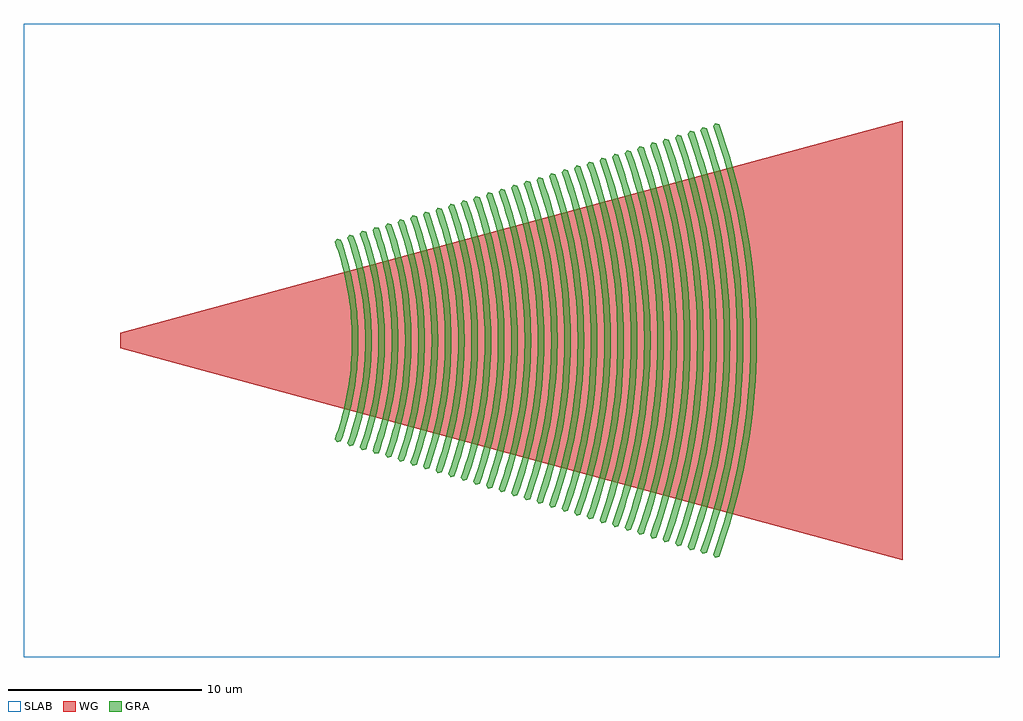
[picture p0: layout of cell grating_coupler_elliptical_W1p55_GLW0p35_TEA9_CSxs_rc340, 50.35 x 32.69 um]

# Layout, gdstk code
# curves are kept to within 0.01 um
import gdstk
lib = gdstk.Library(unit=1e-6, precision=1e-09)
def R(c, l, rs):  # rectangles x0, y0, x1, y1
    for r in rs: c.add(gdstk.rectangle(r[:2], r[2:], *l))
def P(c, l, *ps):  # polygons
    for p in ps: c.add(gdstk.Polygon(p, *l))
WG = (3, 0)
SLAB = (5, 0)
GRA = (6, 0)

grating_coupler_elliptic = lib.new_cell('grating_coupler_elliptical_W1p55_GLW0p35_TEA9_CSxs_rc340')
P(grating_coupler_elliptic, WG, [(46.05,-11.346),(5.7,-0.4),(5.7,0.4),(46.05,11.346)])
R(grating_coupler_elliptic, SLAB, [(0.7,-16.346,51.05,16.346)])
P(grating_coupler_elliptic, GRA, [(16.878,-5.26),(16.757,-5.1),(17.008,-4.338),(17.151,-3.825),(17.333,-3.045),(17.473,-2.258),(17.595,-1.199),(17.642,-0.134),(17.638,0.4),(17.614,0.933),(17.511,1.994),(17.384,2.783),(17.216,3.566),(17.008,4.338),(16.757,5.1),(16.878,5.26),(17.073,5.21),(17.248,4.695),(17.404,4.172),(17.661,3.113),(17.805,2.308),(17.905,1.496),(17.948,0.953),(17.976,0.136),(17.962,-0.681),(17.905,-1.496),(17.805,-2.308),(17.661,-3.113),(17.404,-4.172),(17.248,-4.695),(17.073,-5.21)],
  [(17.529,-5.459),(17.408,-5.299),(17.668,-4.507),(17.817,-3.974),(18.006,-3.163),(18.151,-2.346),(18.225,-1.797),(18.278,-1.245),(18.313,-0.693),(18.326,-0.139),(18.322,0.416),(18.298,0.969),(18.225,1.797),(18.151,2.346),(18.006,3.163),(17.817,3.974),(17.668,4.507),(17.408,5.299),(17.529,5.459),(17.724,5.409),(17.905,4.874),(18.067,4.331),(18.334,3.231),(18.483,2.396),(18.587,1.553),(18.647,0.707),(18.662,0.141),(18.647,-0.707),(18.587,-1.553),(18.483,-2.396),(18.334,-3.231),(18.067,-4.331),(17.905,-4.874),(17.724,-5.409)],
  [(18.179,-5.657),(18.058,-5.497),(18.328,-4.676),(18.483,-4.122),(18.679,-3.282),(18.829,-2.433),(18.906,-1.864),(18.961,-1.292),(18.997,-0.718),(19.012,-0.144),(19.007,0.431),(18.982,1.005),(18.936,1.578),(18.87,2.149),(18.734,3),(18.553,3.843),(18.328,4.676),(18.058,5.497),(18.179,5.657),(18.374,5.607),(18.562,5.052),(18.73,4.49),(18.879,3.923),(19.007,3.35),(19.161,2.483),(19.27,1.61),(19.316,1.025),(19.347,0.146),(19.331,-0.732),(19.27,-1.61),(19.161,-2.483),(19.007,-3.35),(18.879,-3.923),(18.73,-4.49),(18.562,-5.052),(18.374,-5.607)],
  [(18.83,-5.855),(18.709,-5.695),(18.9,-5.129),(19.149,-4.271),(19.352,-3.4),(19.508,-2.521),(19.587,-1.931),(19.644,-1.339),(19.681,-0.744),(19.696,-0.149),(19.692,0.447),(19.666,1.042),(19.587,1.931),(19.508,2.521),(19.352,3.4),(19.149,4.271),(18.9,5.129),(18.709,5.695),(18.83,5.855),(19.025,5.805),(19.22,5.231),(19.393,4.648),(19.547,4.061),(19.68,3.468),(19.84,2.571),(19.952,1.667),(20,1.062),(20.032,0.151),(20.015,-0.758),(19.952,-1.667),(19.84,-2.571),(19.68,-3.468),(19.547,-4.061),(19.393,-4.648),(19.22,-5.231),(19.025,-5.805)],
  [(19.481,-6.053),(19.36,-5.893),(19.648,-5.013),(19.89,-4.121),(20.025,-3.519),(20.186,-2.609),(20.268,-1.998),(20.328,-1.385),(20.366,-0.769),(20.382,-0.155),(20.377,0.462),(20.328,1.385),(20.268,1.998),(20.186,2.609),(20.025,3.519),(19.89,4.121),(19.648,5.013),(19.36,5.893),(19.481,6.053),(19.676,6.003),(19.877,5.41),(20.056,4.807),(20.216,4.199),(20.353,3.587),(20.518,2.659),(20.634,1.724),(20.7,0.785),(20.716,0.157),(20.7,-0.785),(20.634,-1.724),(20.518,-2.659),(20.353,-3.587),(20.216,-4.199),(20.056,-4.807),(19.877,-5.41),(19.676,-6.003)],
  [(20.131,-6.252),(20.01,-6.092),(20.309,-5.182),(20.481,-4.568),(20.698,-3.637),(20.865,-2.697),(20.949,-2.066),(21.011,-1.432),(21.05,-0.795),(21.066,-0.16),(21.062,0.478),(21.011,1.432),(20.949,2.066),(20.865,2.697),(20.698,3.637),(20.481,4.568),(20.309,5.182),(20.01,6.092),(20.131,6.252),(20.326,6.202),(20.534,5.588),(20.72,4.966),(20.884,4.338),(21.026,3.705),(21.197,2.747),(21.316,1.781),(21.367,1.134),(21.402,0.162),(21.384,-0.811),(21.316,-1.781),(21.197,-2.747),(21.026,-3.705),(20.884,-4.338),(20.72,-4.966),(20.534,-5.588),(20.326,-6.202)],
  [(20.782,-6.45),(20.661,-6.29),(20.969,-5.351),(21.227,-4.397),(21.371,-3.756),(21.543,-2.785),(21.631,-2.133),(21.694,-1.478),(21.735,-0.822),(21.752,-0.164),(21.735,0.822),(21.694,1.478),(21.631,2.133),(21.543,2.785),(21.371,3.756),(21.227,4.397),(20.969,5.351),(20.661,6.29),(20.782,6.45),(20.977,6.4),(21.191,5.767),(21.383,5.125),(21.553,4.477),(21.699,3.824),(21.875,2.835),(21.999,1.838),(22.069,0.836),(22.086,0.168),(22.069,-0.836),(21.999,-1.838),(21.875,-2.835),(21.699,-3.824),(21.553,-4.477),(21.383,-5.125),(21.191,-5.767),(20.977,-6.4)],
  [(21.432,-6.648),(21.311,-6.488),(21.63,-5.519),(21.812,-4.866),(22.044,-3.874),(22.222,-2.872),(22.312,-2.2),(22.377,-1.525),(22.419,-0.848),(22.436,-0.17),(22.431,0.509),(22.401,1.187),(22.312,2.2),(22.222,2.872),(22.044,3.874),(21.812,4.866),(21.63,5.519),(21.311,6.488),(21.432,6.648),(21.627,6.598),(21.741,6.274),(22.046,5.283),(22.221,4.616),(22.372,3.942),(22.554,2.922),(22.681,1.895),(22.735,1.207),(22.772,0.172),(22.753,-0.862),(22.681,-1.895),(22.554,-2.922),(22.372,-3.942),(22.221,-4.616),(22.046,-5.283),(21.741,-6.274),(21.627,-6.598)],
  [(22.083,-6.847),(21.962,-6.687),(22.29,-5.688),(22.478,-5.015),(22.716,-3.992),(22.9,-2.96),(22.993,-2.267),(23.06,-1.572),(23.104,-0.874),(23.122,-0.175),(23.116,0.525),(23.085,1.223),(22.993,2.267),(22.9,2.96),(22.716,3.992),(22.478,5.015),(22.29,5.688),(21.962,6.687),(22.083,6.847),(22.278,6.797),(22.395,6.462),(22.61,5.784),(22.802,5.099),(23.044,4.06),(23.232,3.01),(23.363,1.952),(23.438,0.888),(23.456,0.177),(23.438,-0.888),(23.363,-1.952),(23.232,-3.01),(23.113,-3.711),(22.969,-4.408),(22.802,-5.099),(22.61,-5.784),(22.395,-6.462),(22.278,-6.797)],
  [(22.733,-7.045),(22.612,-6.885),(22.95,-5.857),(23.232,-4.814),(23.389,-4.111),(23.578,-3.048),(23.674,-2.334),(23.743,-1.618),(23.788,-0.9),(23.806,-0.18),(23.801,0.54),(23.769,1.259),(23.674,2.334),(23.578,3.048),(23.389,4.111),(23.232,4.814),(22.95,5.857),(22.612,6.885),(22.733,7.045),(22.928,6.995),(23.049,6.651),(23.27,5.953),(23.468,5.247),(23.717,4.179),(23.91,3.098),(24.045,2.009),(24.103,1.279),(24.142,0.182),(24.122,-0.914),(24.045,-2.009),(23.91,-3.098),(23.788,-3.82),(23.558,-4.892),(23.372,-5.601),(23.163,-6.303),(22.928,-6.995)],
  [(23.384,-7.243),(23.263,-7.083),(23.611,-6.025),(23.81,-5.312),(24.062,-4.229),(24.257,-3.136),(24.355,-2.402),(24.426,-1.665),(24.472,-0.926),(24.491,-0.186),(24.486,0.556),(24.453,1.295),(24.355,2.402),(24.257,3.136),(24.062,4.229),(23.81,5.312),(23.611,6.025),(23.263,7.083),(23.384,7.243),(23.579,7.193),(23.703,6.839),(23.931,6.121),(24.134,5.396),(24.39,4.297),(24.589,3.186),(24.728,2.066),(24.787,1.315),(24.826,0.188),(24.806,-0.94),(24.728,-2.066),(24.589,-3.186),(24.463,-3.928),(24.226,-5.031),(24.035,-5.76),(23.82,-6.481),(23.579,-7.193)],
  [(24.035,-7.441),(23.914,-7.281),(24.271,-6.194),(24.476,-5.461),(24.656,-4.721),(24.876,-3.599),(25.036,-2.469),(25.11,-1.711),(25.157,-0.952),(25.176,-0.19),(25.17,0.571),(25.137,1.332),(25.036,2.469),(24.935,3.224),(24.735,4.348),(24.569,5.092),(24.271,6.194),(23.914,7.281),(24.035,7.441),(24.23,7.391),(24.357,7.028),(24.591,6.29),(24.8,5.545),(25.063,4.416),(25.267,3.274),(25.41,2.122),(25.471,1.352),(25.512,0.194),(25.491,-0.966),(25.41,-2.122),(25.267,-3.274),(25.138,-4.036),(24.895,-5.17),(24.699,-5.918),(24.478,-6.66),(24.23,-7.391)],
  [(24.685,-7.64),(24.564,-7.48),(24.931,-6.363),(25.142,-5.61),(25.408,-4.466),(25.614,-3.311),(25.717,-2.536),(25.793,-1.758),(25.841,-0.978),(25.862,-0.196),(25.855,0.587),(25.793,1.758),(25.717,2.536),(25.614,3.311),(25.408,4.466),(25.142,5.61),(24.931,6.363),(24.564,7.48),(24.685,7.64),(24.88,7.59),(25.011,7.216),(25.251,6.459),(25.466,5.694),(25.736,4.534),(25.946,3.361),(26.092,2.179),(26.175,0.992),(26.196,0.198),(26.189,-0.595),(26.127,-1.784),(26.001,-2.968),(25.813,-4.144),(25.653,-4.922),(25.466,-5.694),(25.135,-6.839),(24.88,-7.59)],
  [(25.336,-7.838),(25.215,-7.678),(25.591,-6.531),(25.808,-5.758),(26.081,-4.585),(26.292,-3.399),(26.399,-2.603),(26.476,-1.805),(26.526,-1.003),(26.546,-0.201),(26.54,0.602),(26.476,1.805),(26.399,2.603),(26.292,3.399),(26.081,4.585),(25.808,5.758),(25.591,6.531),(25.215,7.678),(25.336,7.838),(25.531,7.788),(25.665,7.405),(25.911,6.627),(26.132,5.842),(26.409,4.653),(26.624,3.449),(26.731,2.641),(26.838,1.424),(26.882,0.203),(26.86,-1.017),(26.81,-1.831),(26.681,-3.046),(26.488,-4.253),(26.323,-5.051),(26.132,-5.842),(25.792,-7.017),(25.531,-7.788)],
  [(25.986,-8.036),(25.865,-7.876),(26.252,-6.7),(26.474,-5.907),(26.668,-5.106),(26.906,-3.894),(27.029,-3.079),(27.123,-2.261),(27.21,-1.029),(27.232,-0.206),(27.225,0.618),(27.159,1.851),(27.08,2.671),(26.97,3.487),(26.754,4.703),(26.474,5.907),(26.252,6.7),(25.865,7.876),(25.986,8.036),(26.181,7.986),(26.319,7.593),(26.572,6.796),(26.798,5.991),(27.082,4.771),(27.302,3.537),(27.457,2.293),(27.544,1.043),(27.566,0.208),(27.544,-1.043),(27.457,-2.293),(27.361,-3.123),(27.163,-4.361),(26.9,-5.586),(26.688,-6.395),(26.449,-7.196),(26.181,-7.986)],
  [(26.637,-8.235),(26.516,-8.075),(26.912,-6.869),(27.139,-6.056),(27.339,-5.234),(27.583,-3.992),(27.709,-3.157),(27.805,-2.318),(27.895,-1.055),(27.916,-0.212),(27.91,0.634),(27.872,1.477),(27.761,2.738),(27.649,3.575),(27.427,4.821),(27.139,6.056),(26.912,6.869),(26.516,8.075),(26.637,8.235),(26.832,8.185),(26.973,7.782),(27.232,6.965),(27.463,6.14),(27.755,4.889),(27.981,3.625),(28.139,2.35),(28.229,1.069),(28.252,0.214),(28.229,-1.069),(28.139,-2.35),(27.981,-3.625),(27.838,-4.469),(27.568,-5.725),(27.351,-6.553),(27.106,-7.374),(26.832,-8.185)],
  [(27.288,-8.433),(27.167,-8.273),(27.444,-7.451),(27.805,-6.204),(28.01,-5.363),(28.259,-4.09),(28.388,-3.234),(28.487,-2.375),(28.556,-1.513),(28.602,-0.216),(28.594,0.649),(28.556,1.513),(28.442,2.805),(28.327,3.663),(28.1,4.94),(27.911,5.784),(27.571,7.038),(27.167,8.273),(27.288,8.433),(27.483,8.383),(27.627,7.97),(27.893,7.134),(28.129,6.288),(28.428,5.008),(28.659,3.713),(28.821,2.407),(28.89,1.533),(28.936,0.22),(28.913,-1.095),(28.821,-2.407),(28.659,-3.713),(28.513,-4.577),(28.237,-5.864),(28.014,-6.712),(27.764,-7.553),(27.483,-8.383)],
  [(27.938,-8.631),(27.817,-8.471),(28.233,-7.206),(28.471,-6.353),(28.68,-5.491),(28.936,-4.188),(29.123,-2.872),(29.208,-1.991),(29.263,-1.107),(29.286,-0.221),(29.279,0.664),(29.24,1.549),(29.123,2.872),(29.006,3.75),(28.773,5.058),(28.471,6.353),(28.233,7.206),(27.817,8.471),(27.938,8.631),(28.133,8.581),(28.281,8.159),(28.678,6.871),(28.905,6.002),(29.101,5.126),(29.338,3.8),(29.503,2.464),(29.574,1.569),(29.622,0.225),(29.597,-1.121),(29.503,-2.464),(29.338,-3.8),(29.188,-4.686),(28.905,-6.002),(28.678,-6.871),(28.421,-7.732),(28.133,-8.581)],
  [(28.589,-8.829),(28.468,-8.669),(28.893,-7.375),(29.137,-6.502),(29.351,-5.62),(29.613,-4.286),(29.804,-2.94),(29.892,-2.038),(29.948,-1.133),(29.972,-0.227),(29.964,0.68),(29.892,2.038),(29.804,2.94),(29.684,3.838),(29.446,5.177),(29.248,6.062),(28.893,7.375),(28.468,8.669),(28.589,8.829),(28.784,8.779),(28.935,8.347),(29.341,7.03),(29.574,6.14),(29.774,5.245),(30.016,3.888),(30.185,2.521),(30.258,1.606),(30.306,0.229),(30.282,-1.147),(30.226,-2.064),(30.08,-3.433),(29.863,-4.794),(29.574,-6.14),(29.341,-7.03),(29.078,-7.91),(28.784,-8.779)],
  [(29.239,-9.028),(29.118,-8.868),(29.553,-7.544),(29.803,-6.651),(30.022,-5.748),(30.29,-4.384),(30.428,-3.467),(30.575,-2.084),(30.632,-1.159),(30.656,-0.232),(30.649,0.696),(30.608,1.622),(30.485,3.007),(30.362,3.926),(30.119,5.295),(29.803,6.651),(29.553,7.544),(29.118,8.868),(29.239,9.028),(29.434,8.978),(29.589,8.536),(29.873,7.64),(30.127,6.735),(30.447,5.363),(30.694,3.976),(30.868,2.578),(30.942,1.642),(30.992,0.234),(30.966,-1.173),(30.868,-2.578),(30.694,-3.976),(30.538,-4.902),(30.242,-6.279),(30.004,-7.188),(29.735,-8.089),(29.434,-8.978)],
  [(29.89,-9.226),(29.769,-9.066),(30.213,-7.712),(30.469,-6.799),(30.693,-5.877),(30.966,-4.482),(31.167,-3.074),(31.258,-2.131),(31.317,-1.185),(31.342,-0.237),(31.334,0.711),(31.292,1.658),(31.167,3.074),(31.041,4.014),(30.792,5.414),(30.469,6.799),(30.213,7.712),(29.769,9.066),(29.89,9.226),(30.085,9.176),(30.243,8.724),(30.533,7.808),(30.793,6.883),(31.12,5.482),(31.373,4.064),(31.55,2.635),(31.626,1.678),(31.676,0.239),(31.651,-1.199),(31.55,-2.635),(31.373,-4.064),(31.213,-5.01),(30.91,-6.419),(30.667,-7.347),(30.393,-8.267),(30.085,-9.176)],
  [(30.54,-9.424),(30.419,-9.264),(30.874,-7.881),(31.135,-6.948),(31.364,-6.006),(31.643,-4.58),(31.848,-3.141),(31.941,-2.177),(32.001,-1.211),(32.027,-0.242),(32.001,1.211),(31.941,2.177),(31.848,3.141),(31.719,4.102),(31.465,5.532),(31.135,6.948),(30.874,7.881),(30.419,9.264),(30.54,9.424),(30.735,9.374),(30.897,8.913),(31.194,7.977),(31.459,7.032),(31.793,5.6),(32.051,4.152),(32.232,2.692),(32.335,1.225),(32.362,0.246),(32.335,-1.225),(32.232,-2.692),(32.12,-3.666),(31.888,-5.119),(31.579,-6.557),(31.33,-7.506),(31.05,-8.446),(30.735,-9.374)],
  [(31.191,-9.623),(31.07,-9.463),(31.534,-8.05),(31.801,-7.097),(32.138,-5.65),(32.32,-4.678),(32.529,-3.209),(32.624,-2.224),(32.686,-1.237),(32.712,-0.247),(32.703,0.742),(32.659,1.731),(32.529,3.209),(32.398,4.189),(32.138,5.65),(31.801,7.097),(31.534,8.05),(31.07,9.463),(31.191,9.623),(31.386,9.573),(31.707,8.625),(32.125,7.181),(32.466,5.718),(32.73,4.239),(32.914,2.749),(33.02,1.251),(33.046,0.251),(33.02,-1.251),(32.958,-2.25),(32.8,-3.744),(32.563,-5.227),(32.36,-6.208),(32.125,-7.181),(31.707,-8.625),(31.386,-9.573)],
  [(31.842,-9.821),(31.721,-9.661),(32.194,-8.219),(32.467,-7.246),(32.705,-6.263),(32.997,-4.776),(33.147,-3.777),(33.263,-2.774),(33.37,-1.263),(33.396,-0.253),(33.388,0.758),(33.343,1.767),(33.21,3.276),(33.076,4.277),(32.811,5.769),(32.467,7.246),(32.194,8.219),(31.721,9.661),(31.842,9.821),(32.037,9.771),(32.364,8.803),(32.791,7.33),(33.139,5.837),(33.408,4.327),(33.597,2.806),(33.704,1.277),(33.731,0.255),(33.704,-1.277),(33.597,-2.806),(33.408,-4.327),(33.238,-5.335),(33.031,-6.337),(32.791,-7.33),(32.364,-8.803),(32.037,-9.771)],
  [(32.492,-10.019),(32.371,-9.859),(32.855,-8.387),(33.132,-7.394),(33.376,-6.391),(33.674,-4.874),(33.891,-3.343),(33.991,-2.317),(34.054,-1.288),(34.082,-0.258),(34.073,0.772),(33.991,2.317),(33.891,3.343),(33.754,4.365),(33.674,4.874),(33.484,5.887),(33.132,7.394),(32.855,8.387),(32.371,9.859),(32.492,10.019),(32.687,9.969),(33.022,8.982),(33.32,7.982),(33.584,6.973),(33.913,5.443),(34.086,4.415),(34.279,2.863),(34.361,1.823),(34.416,0.26),(34.407,-0.782),(34.325,-2.343),(34.159,-3.899),(33.913,-5.443),(33.584,-6.973),(33.32,-7.982),(33.022,-8.982),(32.687,-9.969)],
  [(33.143,-10.217),(33.022,-10.057),(33.515,-8.556),(33.798,-7.543),(34.047,-6.52),(34.35,-4.972),(34.572,-3.41),(34.674,-2.364),(34.739,-1.314),(34.766,-0.263),(34.758,0.789),(34.674,2.364),(34.572,3.41),(34.433,4.453),(34.157,6.006),(33.927,7.032),(33.515,8.556),(33.022,10.057),(33.143,10.217),(33.338,10.167),(33.679,9.161),(33.983,8.141),(34.253,7.112),(34.588,5.552),(34.765,4.503),(34.961,2.92),(35.045,1.859),(35.101,0.265),(35.092,-0.797),(35.008,-2.39),(34.839,-3.976),(34.588,-5.552),(34.253,-7.112),(33.983,-8.141),(33.679,-9.161),(33.338,-10.167)],
  [(33.793,-10.416),(33.672,-10.256),(34.175,-8.725),(34.464,-7.692),(34.83,-6.124),(35.027,-5.07),(35.187,-4.01),(35.357,-2.41),(35.423,-1.34),(35.452,-0.268),(35.442,0.804),(35.395,1.876),(35.253,3.478),(35.111,4.541),(34.83,6.124),(34.595,7.172),(34.175,8.725),(33.672,10.256),(33.793,10.416),(33.988,10.366),(34.336,9.339),(34.646,8.299),(34.921,7.25),(35.263,5.66),(35.443,4.591),(35.643,2.976),(35.729,1.896),(35.786,0.272),(35.776,-0.814),(35.691,-2.436),(35.519,-4.054),(35.263,-5.66),(34.921,-7.25),(34.646,-8.299),(34.336,-9.339),(33.988,-10.366)],
  [(34.444,-10.614),(34.323,-10.454),(34.835,-8.893),(35.13,-7.84),(35.503,-6.243),(35.704,-5.168),(35.867,-4.087),(35.992,-3.001),(36.079,-1.912),(36.137,-0.273),(36.127,0.82),(36.079,1.912),(35.935,3.545),(35.79,4.628),(35.503,6.243),(35.13,7.84),(34.835,8.893),(34.323,10.454),(34.444,10.614),(34.639,10.564),(34.993,9.518),(35.454,7.924),(35.714,6.851),(35.938,5.768),(36.122,4.678),(36.326,3.033),(36.413,1.932),(36.472,0.277),(36.472,-0.277),(36.442,-1.38),(36.326,-3.033),(36.122,-4.678),(35.938,-5.768),(35.714,-6.851),(35.454,-7.924),(34.993,-9.518),(34.639,-10.564)],
  [(35.095,-10.812),(34.974,-10.652),(35.496,-9.062),(35.796,-7.989),(36.059,-6.906),(36.381,-5.266),(36.616,-3.612),(36.723,-2.504),(36.792,-1.392),(36.822,-0.279),(36.812,0.836),(36.763,1.948),(36.616,3.612),(36.468,4.716),(36.381,5.266),(36.176,6.361),(35.932,7.449),(35.651,8.527),(35.496,9.062),(34.974,10.652),(35.095,10.812),(35.29,10.762),(35.65,9.696),(35.973,8.617),(36.12,8.073),(36.258,7.527),(36.504,6.429),(36.8,4.766),(37.008,3.09),(37.097,1.968),(37.156,0.281),(37.146,-0.844),(37.126,-1.406),(37.097,-1.968),(37.008,-3.09),(36.8,-4.766),(36.612,-5.876),(36.504,-6.429),(36.258,-7.527),(35.973,-8.617),(35.816,-9.158),(35.475,-10.232),(35.29,-10.762)],
  [(35.745,-11.01),(35.624,-10.85),(36.156,-9.231),(36.462,-8.138),(36.73,-7.034),(36.849,-6.479),(37.057,-5.364),(37.147,-4.804),(37.297,-3.679),(37.406,-2.55),(37.477,-1.418),(37.506,-0.284),(37.497,0.851),(37.446,1.984),(37.297,3.679),(37.147,4.804),(36.849,6.479),(36.73,7.034),(36.462,8.138),(36.156,9.231),(35.624,10.85),(35.745,11.01),(35.94,10.96),(36.308,9.875),(36.636,8.776),(36.926,7.666),(37.177,6.547),(37.287,5.985),(37.479,4.854),(37.69,3.147),(37.811,1.432),(37.841,0.286),(37.811,-1.432),(37.69,-3.147),(37.479,-4.854),(37.287,-5.985),(37.177,-6.547),(36.926,-7.666),(36.636,-8.776),(36.308,-9.875),(35.94,-10.96)],
  [(36.396,-11.209),(36.275,-11.049),(36.816,-9.399),(37.128,-8.287),(37.401,-7.163),(37.734,-5.462),(37.907,-4.32),(37.978,-3.747),(38.089,-2.597),(38.161,-1.444),(38.192,-0.288),(38.181,0.867),(38.13,2.021),(37.978,3.747),(37.825,4.892),(37.734,5.462),(37.521,6.598),(37.401,7.163),(37.128,8.287),(36.816,9.399),(36.275,11.049),(36.396,11.209),(36.591,11.159),(36.965,10.054),(37.299,8.934),(37.595,7.805),(37.727,7.237),(37.962,6.093),(38.157,4.942),(38.239,4.364),(38.372,3.204),(38.423,2.623),(38.495,1.458),(38.526,0.292),(38.526,-0.292),(38.495,-1.458),(38.464,-2.041),(38.372,-3.204),(38.239,-4.364),(38.157,-4.942),(37.962,-6.093),(37.727,-7.237),(37.595,-7.805),(37.299,-8.934),(36.965,-10.054),(36.591,-11.159)])

lib.write_gds('grating_coupler_elliptical_W1p55_GLW0p35_TEA9_CSxs_rc340.gds')
